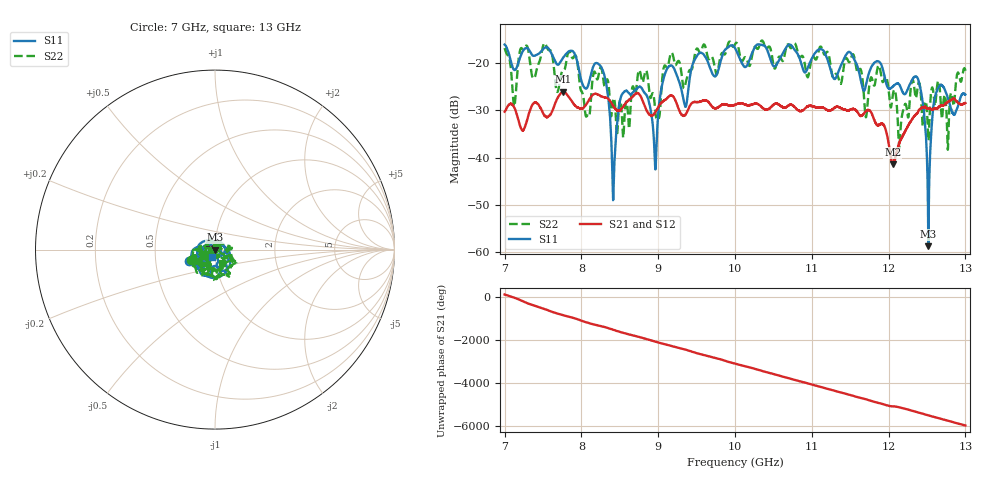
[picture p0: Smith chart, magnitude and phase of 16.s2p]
[Version] 2.0
! Rohde & Schwarz Vector Network Analyzer
! Rohde-Schwarz,ZNL20-2Port,1323001220200009,1.71.1.10-23.02.1.238
! Port Assignments:
! Nominal Port -> Actual Test Port
!  1 -> 1
!  2 -> 2
! Created: GMT+3 2024-09-24 16:06:53
# Hz S DB R 50
[Number of Ports] 2
[Two-Port Data Order] 21_12
! freq[Hz]  S11[mag dB]  S11[ang]  S21[mag dB]  S21[ang]  S12[mag dB]  S12[ang]  S22[mag dB]  S22[ang]
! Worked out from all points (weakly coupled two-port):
!   6001 points, 7 GHz to 13 GHz, reference 50 ohm
!   highest |S21| = -26.02 dB at 7.756 GHz (marker M1); lowest = -41.4 dB at 12.05 GHz (marker M2)
!   lowest |S11| = -58.7 dB at 12.52 GHz (marker M3), VSWR 1.00, Z = 49.9 - j0.0383 ohm
!   |S11| at or under -10 dB: start of sweep to end of sweep
!   |S22| runs from -38.3 to -15.2 dB; largest |S21 - S12| = 0.00087
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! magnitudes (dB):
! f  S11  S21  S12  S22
! 7 GHz  -16.0  -30.3  -30.3  -16.8
! 7.126 GHz  -21.4  -29.4  -29.4  -29.1
! 7.233 GHz  -17.5  -34.2  -34.2  -16.9
! 7.756 GHz  -18.9  -26.0  -26.1  -21.5
! 8 GHz  -23.7  -29.6  -29.6  -25.9
! 8.279 GHz  -21.5  -27.1  -27.1  -22.6
! 8.418 GHz  -47.0  -29.1  -29.2  -27.4
! 8.551 GHz  -26.2  -29.0  -29.1  -34.7
! 8.756 GHz  -24.9  -26.6  -26.6  -21.5
! 9 GHz  -30.7  -29.4  -29.3  -31.6
! 9.169 GHz  -20.4  -26.8  -26.8  -17.8
! 9.353 GHz  -29.2  -30.9  -31.0  -24.5
! 10 GHz  -16.8  -28.8  -28.8  -16.0
! 11 GHz  -19.0  -29.1  -29.0  -19.0
! 12 GHz  -25.3  -37.0  -37.0  -25.5
! 12.05 GHz  -24.9  -41.4  -41.3  -26.9
! 12.15 GHz  -24.7  -36.5  -36.6  -36.3
! 12.38 GHz  -23.3  -30.4  -30.3  -24.7
! 12.52 GHz  -58.7  -29.5  -29.5  -36.2
! 12.64 GHz  -25.5  -29.6  -29.5  -24.1
! 12.77 GHz  -27.4  -28.2  -28.2  -38.0
! 13 GHz  -26.6  -28.4  -28.4  -21.6
